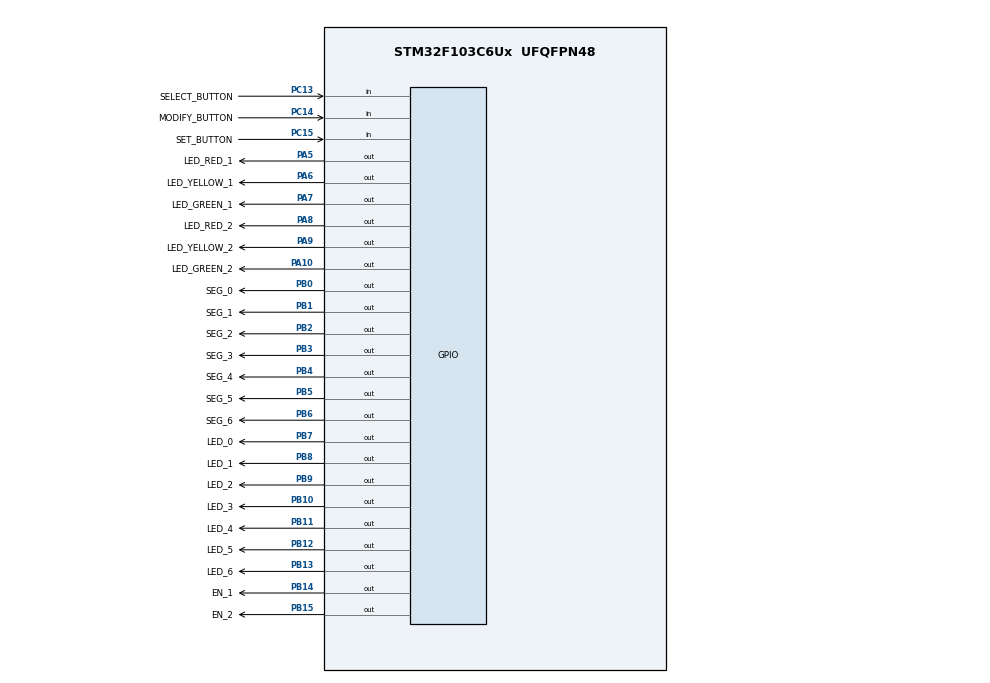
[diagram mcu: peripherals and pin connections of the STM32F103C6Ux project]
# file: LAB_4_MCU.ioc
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Mcu.Family=STM32F1
Mcu.Name=STM32F103C6Ux
Mcu.Package=UFQFPN48
NVIC.PriorityGroup=NVIC_PRIORITYGROUP_4
NVIC.TIM2_IRQn=true\:0\:0\:false\:false\:true\:true\:true
PA10.GPIO_Label=LED_GREEN_2
PA10.Signal=GPIO_Output
PA5.GPIO_Label=LED_RED_1
PA5.Signal=GPIO_Output
PA6.GPIO_Label=LED_YELLOW_1
PA6.Signal=GPIO_Output
PA7.GPIO_Label=LED_GREEN_1
PA7.Signal=GPIO_Output
PA8.GPIO_Label=LED_RED_2
PA8.Signal=GPIO_Output
PA9.GPIO_Label=LED_YELLOW_2
PA9.Signal=GPIO_Output
PB0.GPIO_Label=SEG_0
PB0.Signal=GPIO_Output
PB1.GPIO_Label=SEG_1
PB1.Signal=GPIO_Output
PB10.GPIO_Label=LED_3
PB10.Signal=GPIO_Output
PB11.GPIO_Label=LED_4
PB11.Signal=GPIO_Output
PB12.GPIO_Label=LED_5
PB12.Signal=GPIO_Output
PB13.GPIO_Label=LED_6
PB13.Signal=GPIO_Output
PB14.GPIO_Label=EN_1
PB14.Signal=GPIO_Output
PB15.GPIO_Label=EN_2
PB15.Signal=GPIO_Output
PB2.GPIO_Label=SEG_2
PB2.Signal=GPIO_Output
PB3.GPIO_Label=SEG_3
PB3.Signal=GPIO_Output
PB4.GPIO_Label=SEG_4
PB4.Signal=GPIO_Output
PB5.GPIO_Label=SEG_5
PB5.Signal=GPIO_Output
PB6.GPIO_Label=SEG_6
PB6.Signal=GPIO_Output
PB7.GPIO_Label=LED_0
PB7.Signal=GPIO_Output
PB8.GPIO_Label=LED_1
PB8.Signal=GPIO_Output
PB9.GPIO_Label=LED_2
PB9.Signal=GPIO_Output
PC13-TAMPER-RTC.GPIO_Label=SELECT_BUTTON
PC13-TAMPER-RTC.GPIO_PuPd=GPIO_PULLUP
PC13-TAMPER-RTC.Signal=GPIO_Input
PC14-OSC32_IN.GPIO_Label=MODIFY_BUTTON
PC14-OSC32_IN.GPIO_PuPd=GPIO_PULLUP
PC14-OSC32_IN.Signal=GPIO_Input
PC15-OSC32_OUT.GPIO_Label=SET_BUTTON
PC15-OSC32_OUT.GPIO_PuPd=GPIO_PULLUP
PC15-OSC32_OUT.Signal=GPIO_Input
ProjectManager.HeapSize=0x200
ProjectManager.StackSize=0x400
ProjectManager.TargetToolchain=STM32CubeIDE
RCC.APB1Freq_Value=8000000
RCC.APB2Freq_Value=8000000
TIM2.Period=9
TIM2.Prescaler=7999
VP_SYS_VS_ND.Mode=No_Debug
VP_TIM2_VS_ClockSourceINT.Mode=Internal
board=custom

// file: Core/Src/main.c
/* USER CODE BEGIN Header */
/**
  ******************************************************************************
  * @file           : main.c
  * @brief          : Main program body
  ******************************************************************************
  * @attention
  *
  * <h2><center>&copy; Copyright (c) 2024 STMicroelectronics.
  * All rights reserved.</center></h2>
  *
  * This software component is licensed by ST under BSD 3-Clause license,
  * the "License"; You may not use this file except in compliance with the
  * License. You may obtain a copy of the License at:
  *                        opensource.org/licenses/BSD-3-Clause
  *
  ******************************************************************************
  */
/* USER CODE END Header */
#include "main.h"

/* USER CODE BEGIN Includes */
#include "Global.h"
#include "Led7-Segment.h"
#include "FSM_Settings.h"
#include "Scheduler.h"
/* USER CODE END Includes */

TIM_HandleTypeDef htim2;

void SystemClock_Config(void);
static void MX_TIM2_Init(void);
static void MX_GPIO_Init(void);

/* USER CODE BEGIN 0 */
void ToggleLED1(){
	HAL_GPIO_TogglePin(LED_RED_1_GPIO_Port, LED_RED_1_Pin);
}
void ToggleLED2(){
	HAL_GPIO_TogglePin(LED_RED_2_GPIO_Port, LED_RED_2_Pin);
}
void ToggleLED3(){
	HAL_GPIO_TogglePin(LED_YELLOW_1_GPIO_Port, LED_YELLOW_1_Pin);
}
void ToggleLED4(){
	HAL_GPIO_TogglePin(LED_YELLOW_2_GPIO_Port, LED_YELLOW_2_Pin);
}
void ToggleLED5(){
	HAL_GPIO_TogglePin(LED_GREEN_1_GPIO_Port, LED_GREEN_1_Pin);
}
/* USER CODE END 0 */

int main(void)
{

  /* MCU Configuration--------------------------------------------------------*/

  /* Reset of all peripherals, Initializes the Flash interface and the Systick. */
  HAL_Init();

  /* Configure the system clock */
  SystemClock_Config();

  /* Initialize all configured peripherals */
  MX_GPIO_Init();
  MX_TIM2_Init();
  /* USER CODE BEGIN 2 */
  HAL_TIM_Base_Start_IT(&htim2);
  /* USER CODE END 2 */

  /* Infinite loop */
  /* USER CODE BEGIN WHILE */
  SCH_Init();
  SCH_Add_Task(FSM_Normal_Mode, 0, 0);
  SCH_Add_Task(FSM_Settings_run, 0, 10);
  while (1)
  {
	  SCH_Dispatch_Tasks();
    /* USER CODE END WHILE */

  }
}

void SystemClock_Config(void)
{
  RCC_OscInitTypeDef RCC_OscInitStruct = {0};
  RCC_ClkInitTypeDef RCC_ClkInitStruct = {0};

  /** Initializes the RCC Oscillators according to the specified parameters
  * in the RCC_OscInitTypeDef structure.
  */
  RCC_OscInitStruct.OscillatorType = RCC_OSCILLATORTYPE_HSI;
  RCC_OscInitStruct.HSIState = RCC_HSI_ON;
  RCC_OscInitStruct.HSICalibrationValue = RCC_HSICALIBRATION_DEFAULT;
  RCC_OscInitStruct.PLL.PLLState = RCC_PLL_NONE;
  if (HAL_RCC_OscConfig(&RCC_OscInitStruct) != HAL_OK)
  {
    Error_Handler();
  }
  /** Initializes the CPU, AHB and APB buses clocks
  */
  RCC_ClkInitStruct.ClockType = RCC_CLOCKTYPE_HCLK|RCC_CLOCKTYPE_SYSCLK
                              |RCC_CLOCKTYPE_PCLK1|RCC_CLOCKTYPE_PCLK2;
  RCC_ClkInitStruct.SYSCLKSource = RCC_SYSCLKSOURCE_HSI;
  RCC_ClkInitStruct.AHBCLKDivider = RCC_SYSCLK_DIV1;
  RCC_ClkInitStruct.APB1CLKDivider = RCC_HCLK_DIV1;
  RCC_ClkInitStruct.APB2CLKDivider = RCC_HCLK_DIV1;

  if (HAL_RCC_ClockConfig(&RCC_ClkInitStruct, FLASH_LATENCY_0) != HAL_OK)
  {
    Error_Handler();
  }
}

static void MX_TIM2_Init(void)
{

  TIM_ClockConfigTypeDef sClockSourceConfig = {0};
  TIM_MasterConfigTypeDef sMasterConfig = {0};

  htim2.Instance = TIM2;
  htim2.Init.Prescaler = 7999;
  htim2.Init.CounterMode = TIM_COUNTERMODE_UP;
  htim2.Init.Period = 9;
  htim2.Init.ClockDivision = TIM_CLOCKDIVISION_DIV1;
  htim2.Init.AutoReloadPreload = TIM_AUTORELOAD_PRELOAD_DISABLE;
  if (HAL_TIM_Base_Init(&htim2) != HAL_OK)
  {
    Error_Handler();
  }
  sClockSourceConfig.ClockSource = TIM_CLOCKSOURCE_INTERNAL;
  if (HAL_TIM_ConfigClockSource(&htim2, &sClockSourceConfig) != HAL_OK)
  {
    Error_Handler();
  }
  sMasterConfig.MasterOutputTrigger = TIM_TRGO_RESET;
  sMasterConfig.MasterSlaveMode = TIM_MASTERSLAVEMODE_DISABLE;
  if (HAL_TIMEx_MasterConfigSynchronization(&htim2, &sMasterConfig) != HAL_OK)
  {
    Error_Handler();
  }

}

static void MX_GPIO_Init(void)
{
  GPIO_InitTypeDef GPIO_InitStruct = {0};

  /* GPIO Ports Clock Enable */
  __HAL_RCC_GPIOC_CLK_ENABLE();
  __HAL_RCC_GPIOA_CLK_ENABLE();
  __HAL_RCC_GPIOB_CLK_ENABLE();

  /*Configure GPIO pin Output Level */
  HAL_GPIO_WritePin(GPIOA, LED_RED_1_Pin|LED_YELLOW_1_Pin|LED_GREEN_1_Pin|LED_RED_2_Pin
                          |LED_YELLOW_2_Pin|LED_GREEN_2_Pin, GPIO_PIN_SET);

  /*Configure GPIO pin Output Level */
  HAL_GPIO_WritePin(GPIOB, SEG_0_Pin|SEG_1_Pin|SEG_2_Pin|LED_3_Pin
                          |LED_4_Pin|LED_5_Pin|LED_6_Pin|EN_1_Pin
                          |EN_2_Pin|SEG_3_Pin|SEG_4_Pin|SEG_5_Pin
                          |SEG_6_Pin|LED_0_Pin|LED_1_Pin|LED_2_Pin, GPIO_PIN_SET);

  /*Configure GPIO pins : SELECT_BUTTON_Pin MODIFY_BUTTON_Pin SET_BUTTON_Pin */
  GPIO_InitStruct.Pin = SELECT_BUTTON_Pin|MODIFY_BUTTON_Pin|SET_BUTTON_Pin;
  GPIO_InitStruct.Mode = GPIO_MODE_INPUT;
  GPIO_InitStruct.Pull = GPIO_PULLUP;
  HAL_GPIO_Init(GPIOC, &GPIO_InitStruct);

  /*Configure GPIO pins : LED_RED_1_Pin LED_YELLOW_1_Pin LED_GREEN_1_Pin LED_RED_2_Pin
                           LED_YELLOW_2_Pin LED_GREEN_2_Pin */
  GPIO_InitStruct.Pin = LED_RED_1_Pin|LED_YELLOW_1_Pin|LED_GREEN_1_Pin|LED_RED_2_Pin
                          |LED_YELLOW_2_Pin|LED_GREEN_2_Pin;
  GPIO_InitStruct.Mode = GPIO_MODE_OUTPUT_PP;
  GPIO_InitStruct.Pull = GPIO_NOPULL;
  GPIO_InitStruct.Speed = GPIO_SPEED_FREQ_LOW;
  HAL_GPIO_Init(GPIOA, &GPIO_InitStruct);

  /*Configure GPIO pins : SEG_0_Pin SEG_1_Pin SEG_2_Pin LED_3_Pin
                           LED_4_Pin LED_5_Pin LED_6_Pin EN_1_Pin
                           EN_2_Pin SEG_3_Pin SEG_4_Pin SEG_5_Pin
                           SEG_6_Pin LED_0_Pin LED_1_Pin LED_2_Pin */
  GPIO_InitStruct.Pin = SEG_0_Pin|SEG_1_Pin|SEG_2_Pin|LED_3_Pin
                          |LED_4_Pin|LED_5_Pin|LED_6_Pin|EN_1_Pin
                          |EN_2_Pin|SEG_3_Pin|SEG_4_Pin|SEG_5_Pin
                          |SEG_6_Pin|LED_0_Pin|LED_1_Pin|LED_2_Pin;
  GPIO_InitStruct.Mode = GPIO_MODE_OUTPUT_PP;
  GPIO_InitStruct.Pull = GPIO_NOPULL;
  GPIO_InitStruct.Speed = GPIO_SPEED_FREQ_LOW;
  HAL_GPIO_Init(GPIOB, &GPIO_InitStruct);

}

/* USER CODE BEGIN 4 */
void HAL_TIM_PeriodElapsedCallback(TIM_HandleTypeDef *htim)
{
	SCH_Update();
	getKeyInput();
}
/* USER CODE END 4 */

void Error_Handler(void)
{
  __disable_irq();
  while (1)
  {
  }
}

/************************ (C) COPYRIGHT STMicroelectronics *****END OF FILE****/
